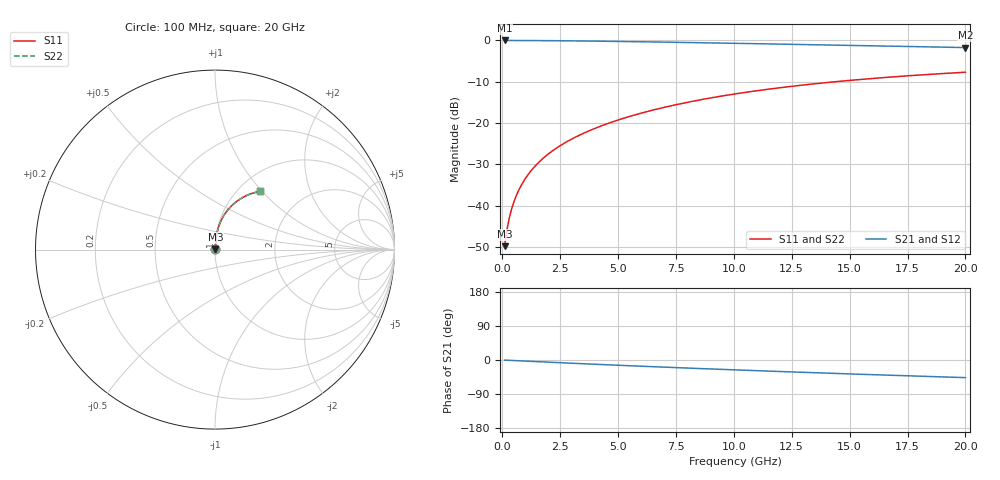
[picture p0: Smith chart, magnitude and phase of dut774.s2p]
! Touchstone file exported from HFSS 2024.1.0
!  File:  C:/UserFiles/LocalFiles/RDL_TSV_Batchsim/temp_RDL_top_774_1779852736.aedt
!  Generated:  11:34:18 AM May 27, 2026
!  Design:  RDL_top
!  Project:  temp_RDL_top_774_1779852736
!  Setup:  Setup1
!  Solution:  Sweep
! Variables:
!  dtsv = 10.80580581um
!  hbump = 3um
!  htsv = 82.06um
!  ldown = 100um
!  lrdl = 649.82um
!  p = 40
!  p1 = 57.91um
!  rhole = 1um
!  t = 450um
!  tdown = 3.915915916um
!  trdl = 4.8um
!  wdown = 15.38538539um
!  wrdl = 22.65um
# GHz S MA R 50.000000
! Terminal data exported
! Port[1] = Box2_T1
! Port[2] = Box2_T2
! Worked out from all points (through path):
!   200 points, 100 MHz to 20 GHz, reference 50 ohm
!   highest |S21| = -0.02 dB at 100 MHz (marker M1); lowest = -1.7 dB at 20 GHz (marker M2)
!   group delay of S21, straight-line fit = 6.4 ps
!   lowest |S11| = -49.8 dB at 100 MHz (marker M3), VSWR 1.01, Z = 50.2 + j0.229 ohm
!   |S11| at or under -10 dB: start of sweep to 14.4 GHz
!   |S22| runs from -49.8 to -7.7 dB; largest |S21 - S12| = 1e-14
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0.1  0.003226 45.0  0.9977 -0.3  0.9977 -0.3  0.003226 45.0
! Gamma 0 0 0 0
! Port Impedance 50 0 50 0
0.2  0.005077 61.4  0.9975 -0.6  0.9975 -0.6  0.005077 61.4
0.3  0.007043 68.7  0.9974 -0.9  0.9974 -0.9  0.007043 68.7
0.4  0.009037 72.9  0.9972 -1.2  0.9972 -1.2  0.009037 72.9
0.5  0.01105 75.6  0.997 -1.5  0.997 -1.5  0.01105 75.6
0.6  0.01308 77.6  0.9969 -1.7  0.9969 -1.7  0.01308 77.6
0.8  0.01719 80.1  0.9965 -2.3  0.9965 -2.3  0.01719 80.1
1.1  0.02342 82.2  0.9957 -3.2  0.9957 -3.2  0.02342 82.1
1.5  0.03181 83.5  0.9944 -4.3  0.9944 -4.3  0.03181 83.5
1.8  0.03815 84.0  0.9932 -5.2  0.9932 -5.2  0.03815 83.9
2.1  0.04454 84.2  0.9918 -6.0  0.9918 -6.0  0.04453 84.2
2.7  0.05744 84.3  0.9885 -7.7  0.9885 -7.7  0.05742 84.3
3.5  0.07492 83.9  0.9832 -9.9  0.9832 -9.9  0.0749 83.9
4.2  0.0905 83.3  0.9778 -11.8  0.9778 -11.8  0.09046 83.2
5  0.1086 82.3  0.9711 -13.9  0.9711 -13.9  0.1085 82.2
6.8  0.1501 79.4  0.9544 -18.4  0.9544 -18.4  0.15 79.3
8.4  0.1872 76.3  0.9384 -22.3  0.9384 -22.3  0.187 76.2
10.1  0.2259 72.7  0.921 -26.2  0.921 -26.2  0.2257 72.7
11.7  0.261 69.2  0.9043 -29.8  0.9043 -29.8  0.2607 69.2
13.4  0.2964 65.6  0.8864 -33.4  0.8864 -33.4  0.296 65.5
16.7  0.3585 58.6  0.8518 -40.2  0.8518 -40.2  0.358 58.6
20  0.4115 52.1  0.8182 -46.5  0.8182 -46.5  0.4109 52.1
